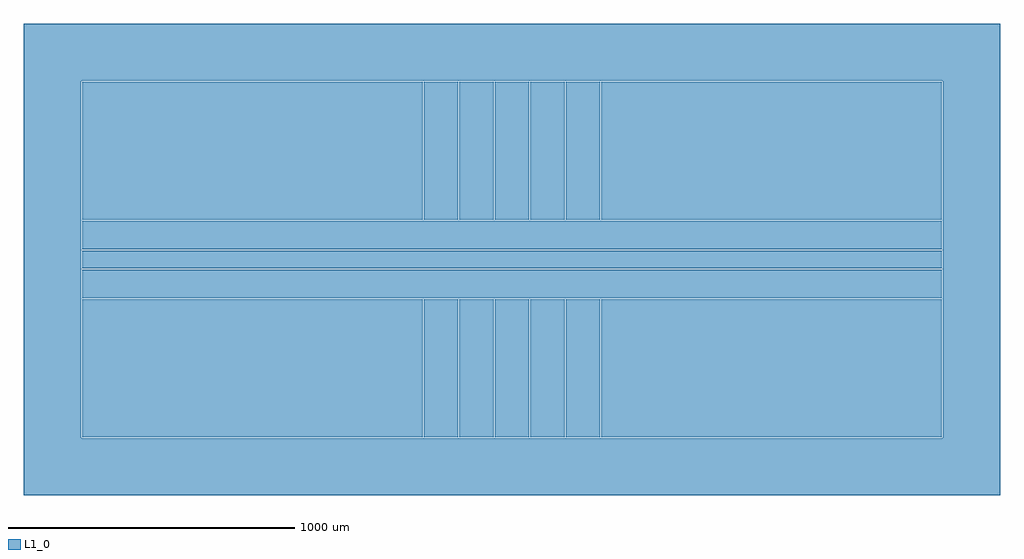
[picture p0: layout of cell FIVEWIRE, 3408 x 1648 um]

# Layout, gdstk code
import gdstk
lib = gdstk.Library(unit=1e-6, precision=1e-09)
def R(c, l, rs):  # rectangles x0, y0, x1, y1
    for r in rs: c.add(gdstk.rectangle(r[:2], r[2:], *l))
def A(c, l, x, y, w, h, nx, ny, dx, dy):  # array of equal rectangles
    R(c, l, [(x+i*dx, y+j*dy, x+i*dx+w, y+j*dy+h) for i in range(nx) for j in range(ny)])
def P(c, l, *ps):  # polygons
    for p in ps: c.add(gdstk.Polygon(p, *l))
L1_0 = (1, 0)

fivewire = lib.new_cell('FIVEWIRE')
A(fivewire, L1_0, -308, -620, 120, 481, 5, 2, 124, 759)
R(fivewire, L1_0, [(-1500,-620,-312,-139), (312,-620,1500,-139), (-1500,-135,1500,-35), (-1500,-31,1500,31), (-1500,35,1500,135), (-1500,139,-312,620), (312,139,1500,620)])
P(fivewire, L1_0, [(1704,824),(-1704,824),(-1704,-624),(-1504,-624),(-1504,624),(1504,624),(1504,-624),(-1504,-624),(-1704,-624),(-1704,-824),(1704,-824)])

lib.write_gds('FIVEWIRE.gds')
